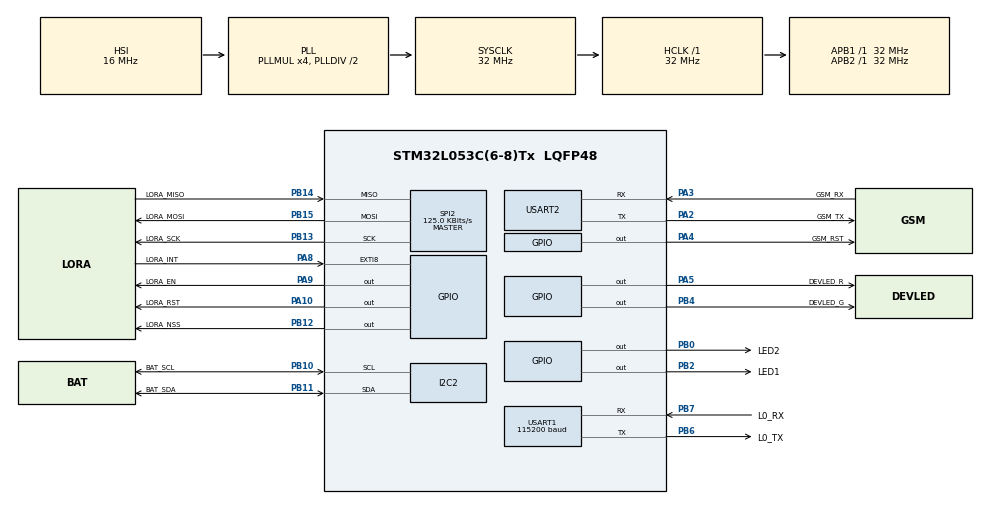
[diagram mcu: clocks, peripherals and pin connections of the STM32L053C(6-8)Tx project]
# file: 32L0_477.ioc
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Dma.Request0=USART2_RX
Dma.Request1=USART1_RX
Dma.USART1_RX.1.Direction=DMA_PERIPH_TO_MEMORY
Dma.USART1_RX.1.Instance=DMA1_Channel3
Dma.USART1_RX.1.MemDataAlignment=DMA_MDATAALIGN_BYTE
Dma.USART1_RX.1.MemInc=DMA_MINC_ENABLE
Dma.USART1_RX.1.Mode=DMA_NORMAL
Dma.USART1_RX.1.PeriphDataAlignment=DMA_PDATAALIGN_BYTE
Dma.USART1_RX.1.PeriphInc=DMA_PINC_DISABLE
Dma.USART1_RX.1.Priority=DMA_PRIORITY_LOW
Dma.USART2_RX.0.Direction=DMA_PERIPH_TO_MEMORY
Dma.USART2_RX.0.Instance=DMA1_Channel5
Dma.USART2_RX.0.MemDataAlignment=DMA_MDATAALIGN_BYTE
Dma.USART2_RX.0.MemInc=DMA_MINC_ENABLE
Dma.USART2_RX.0.Mode=DMA_NORMAL
Dma.USART2_RX.0.PeriphDataAlignment=DMA_PDATAALIGN_BYTE
Dma.USART2_RX.0.PeriphInc=DMA_PINC_DISABLE
Dma.USART2_RX.0.Priority=DMA_PRIORITY_LOW
I2C2.Timing=0x00707CBB
Mcu.Family=STM32L0
Mcu.Name=STM32L053C(6-8)Tx
Mcu.Package=LQFP48
NVIC.DMA1_Channel2_3_IRQn=true\:0\:0\:false\:false\:true\:false\:true
NVIC.DMA1_Channel4_5_6_7_IRQn=true\:0\:0\:false\:false\:true\:false\:true
NVIC.EXTI4_15_IRQn=true\:0\:0\:false\:false\:true\:true\:true
NVIC.TIM2_IRQn=true\:0\:0\:false\:false\:true\:true\:true
PA10.GPIO_Label=LORA_RST
PA10.Signal=GPIO_Output
PA13.GPIO_Label=SWDIO
PA13.Mode=Serial_Wire
PA13.Signal=SYS_SWDIO
PA14.GPIO_Label=SWCLK
PA14.Mode=Serial_Wire
PA14.Signal=SYS_SWCLK
PA2.GPIO_Label=GSM_TX
PA2.Mode=Asynchronous
PA2.Signal=USART2_TX
PA3.GPIO_Label=GSM_RX
PA3.Mode=Asynchronous
PA3.Signal=USART2_RX
PA4.GPIO_Label=GSM_RST
PA4.Signal=GPIO_Output
PA5.GPIO_Label=DEVLED_R
PA5.Signal=GPIO_Output
PA8.GPIO_Label=LORA_INT
PA8.Signal=GPXTI8
PA9.GPIO_Label=LORA_EN
PA9.Signal=GPIO_Output
PB0.GPIO_Label=LED2
PB0.Signal=GPIO_Output
PB10.GPIO_Label=BAT_SCL
PB10.Mode=I2C
PB10.Signal=I2C2_SCL
PB11.GPIO_Label=BAT_SDA
PB11.Mode=I2C
PB11.Signal=I2C2_SDA
PB12.GPIO_Label=LORA_NSS
PB12.Signal=GPIO_Output
PB13.GPIO_Label=LORA_SCK
PB13.Mode=Full_Duplex_Master
PB13.Signal=SPI2_SCK
PB14.GPIO_Label=LORA_MISO
PB14.Mode=Full_Duplex_Master
PB14.Signal=SPI2_MISO
PB15.GPIO_Label=LORA_MOSI
PB15.Mode=Full_Duplex_Master
PB15.Signal=SPI2_MOSI
PB2.GPIO_Label=LED1
PB2.Signal=GPIO_Output
PB4.GPIO_Label=DEVLED_G
PB4.Signal=GPIO_Output
PB6.GPIO_Label=L0_TX
PB6.Mode=Asynchronous
PB6.Signal=USART1_TX
PB7.GPIO_Label=L0_RX
PB7.Mode=Asynchronous
PB7.Signal=USART1_RX
ProjectManager.HeapSize=0x200
ProjectManager.StackSize=0x400
ProjectManager.TargetToolchain=SW4STM32
RCC.ADCFreq_Value=16000000
RCC.AHBFreq_Value=32000000
RCC.APB1Freq_Value=32000000
RCC.APB1TimFreq_Value=32000000
RCC.APB2Freq_Value=32000000
RCC.APB2TimFreq_Value=32000000
RCC.HCLKFreq_Value=32000000
RCC.HSE_VALUE=8000000
RCC.HSI16_VALUE=16000000
RCC.HSI48MClockSelection=RCC_USBCLKSOURCE_HSI48
RCC.HSI48_VALUE=48000000
RCC.HSI_VALUE=16000000
RCC.LSE_VALUE=32768
RCC.LptimClockSelection=RCC_LPTIM1CLKSOURCE_LSI
RCC.MSI_VALUE=2097000
RCC.PLLMUL=RCC_PLLMUL_4
RCC.RTCClockSelectionVirtual=RCC_RTCCLKSOURCE_LSE
RCC.SYSCLKFreq_VALUE=32000000
RCC.SYSCLKSource=RCC_SYSCLKSOURCE_PLLCLK
RCC.VCOOutputFreq_Value=64000000
SPI2.BaudRatePrescaler=SPI_BAUDRATEPRESCALER_256
SPI2.CalculateBaudRate=125.0 KBits/s
SPI2.Direction=SPI_DIRECTION_2LINES
SPI2.FirstBit=SPI_FIRSTBIT_MSB
SPI2.Mode=SPI_MODE_MASTER
SPI2.VirtualType=VM_MASTER
TIM2.AutoReloadPreload=TIM_AUTORELOAD_PRELOAD_ENABLE
TIM2.ClockDivision=TIM_CLOCKDIVISION_DIV1
TIM2.Period=5000
TIM2.Prescaler=32000
TIM2.TIM_MasterOutputTrigger=TIM_TRGO_OC1REF
USART1.BaudRate=115200
USART1.MSBFirstParam=ADVFEATURE_MSBFIRST_DISABLE
USART1.VirtualMode-Asynchronous=VM_ASYNC
USART2.VirtualMode-Asynchronous=VM_ASYNC
VP_TIM2_VS_ClockSourceINT.Mode=Internal
VP_TIM6_VS_ClockSourceINT.Mode=Enable_Timer
board=STM32L0538-DISCO

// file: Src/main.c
/* USER CODE BEGIN Header */
/**
  ******************************************************************************
  * @file           : main.c
  * @brief          : Main program body
  ******************************************************************************
  * @attention
  *
  * <h2><center>&copy; Copyright (c) 2019 STMicroelectronics.
  * All rights reserved.</center></h2>
  *
  * This software component is licensed by ST under BSD 3-Clause license,
  * the "License"; You may not use this file except in compliance with the
  * License. You may obtain a copy of the License at:
  *                        opensource.org/licenses/BSD-3-Clause
  *
  ******************************************************************************
  */
/* USER CODE END Header */

#include "main.h"

/* USER CODE BEGIN Includes */
#include "mesh.h"
#include "G350.h"
#include "fuel_gauge.h"
/* USER CODE END Includes */

I2C_HandleTypeDef hi2c2;

SPI_HandleTypeDef hspi2;

TIM_HandleTypeDef htim2;
TIM_HandleTypeDef htim6;

UART_HandleTypeDef huart1;
UART_HandleTypeDef huart2;
DMA_HandleTypeDef hdma_usart1_rx;
DMA_HandleTypeDef hdma_usart2_rx;

/* USER CODE BEGIN PV */
int first = 0;
bool TIMEOUT_interrupt = false;
bool LORA_interrupt = false;
uint8_t fireBuffer_A[256] = "\0";
uint8_t fireBuffer = '\0';
bool emergency = 0;
/* USER CODE END PV */

void SystemClock_Config(void);
static void MX_GPIO_Init(void);
static void MX_DMA_Init(void);
static void MX_SPI2_Init(void);
static void MX_USART1_UART_Init(void);
static void MX_I2C2_Init(void);
static void MX_TIM2_Init(void);
static void MX_TIM6_Init(void);
static void MX_USART2_UART_Init(void);

/* USER CODE BEGIN 0 */
void set_tim2(int sec) //Note: Once the timer is set, you have to wait till it finishes before starting it again
{
	htim2.Init.Period = sec*1000;
	HAL_TIM_Base_Init(&htim2);
	first = 0;
	HAL_TIM_Base_Start_IT(&htim2);
}

void stop_tim2()
{
	HAL_TIM_Base_Stop_IT(&htim2);
}

void HAL_TIM_PeriodElapsedCallback(TIM_HandleTypeDef *htim)
{
	if(htim == &htim2)
	{
		if(first == 0) {first = 1; return;}
		HAL_GPIO_TogglePin(GPIOB,GPIO_PIN_4);
		HAL_GPIO_TogglePin(LED1_GPIO_Port,LED1_Pin);
		TIMEOUT_interrupt = true;

		HAL_TIM_Base_Stop_IT(htim);
	}
}

void HAL_GPIO_EXTI_Callback(uint16_t GPIO_Pin)
{
	if(GPIO_Pin == GPIO_PIN_8) //For GPIOA_8 (Lora Interrupt)
	{
		HAL_GPIO_TogglePin(GPIOA,GPIO_PIN_5);
		HAL_GPIO_TogglePin(LED2_GPIO_Port,LED2_Pin);
		LORA_interrupt = true;
	}
}

void UART_send(uint8_t* data)
{
	HAL_UART_Transmit(&(huart1),data,strlen(data),30);
	HAL_UART_Transmit(&(huart1),"\x0D\x0A",2,30);
	HAL_Delay(100);
}

void Update_Fire()
{

	if (strlen(fireBuffer_A) != 0)
	{

		fireBuffer = fireBuffer_A[strlen(fireBuffer_A)- 1];

		uint8_t dma[16];
		sprintf(dma,"Message Read: %c", fireBuffer);
		UART_send(dma);

		if (fireBuffer == 'F' || fireBuffer == 'f')
		{
			self_fire = 1;
			emergency = 1;
		}
		else if (fireBuffer == 'N' || fireBuffer == 'n')
		{
			self_fire = 0;
		}
		else if (fireBuffer == 'E' || fireBuffer == 'e')
		{
			self_fire = 2;
		}
	}
	HAL_UART_DMAStop(&huart1);

	memset(fireBuffer_A,0,256);
	fireBuffer = '\0';

	if (HAL_UART_Receive_DMA(&huart1, fireBuffer_A, 256) != HAL_OK)
	{
		UART_send("DMA failed");
	}
}
/* USER CODE END 0 */

int main(void)
{

  /* MCU Configuration--------------------------------------------------------*/

  /* Reset of all peripherals, Initializes the Flash interface and the Systick. */
  HAL_Init();

  /* Configure the system clock */
  SystemClock_Config();

  /* Initialize all configured peripherals */
  MX_GPIO_Init();
  MX_DMA_Init();
  MX_SPI2_Init();
  MX_USART1_UART_Init();
  MX_I2C2_Init();
  MX_TIM2_Init();
  MX_TIM6_Init();
  MX_USART2_UART_Init();
  /* USER CODE BEGIN 2 */

  //Info:
  // GPIOB Pin12 is the chip select
  // GPIOA Pin10  is the RST (pull high for it to work)
  // GPIOA Pin9   is the EN (pulled high for it to work)
  HAL_GPIO_WritePin(GPIOB,GPIO_PIN_12,GPIO_PIN_SET);
  HAL_GPIO_WritePin(LORA_EN_GPIO_Port,LORA_EN_Pin,GPIO_PIN_SET);
  HAL_GPIO_WritePin(LORA_RST_GPIO_Port,LORA_RST_Pin,GPIO_PIN_SET);

  uint8_t rx_buff;
  uint8_t rx_buff2;
  if (!RF95_init(hspi2, GPIOB))
  {
	  HAL_GPIO_WritePin(GPIOA,GPIO_PIN_5,GPIO_PIN_SET);
	  HAL_GPIO_WritePin(LED2_GPIO_Port,LED2_Pin,GPIO_PIN_SET);
  }

  //Init for GPIOB interrupt pin (LORA_INT)
  HAL_NVIC_EnableIRQ(EXTI4_15_IRQn);
//  if (req_ID(hspi2,GPIOB,1,4) == 0)
//  {
//
//	 //fail to get ID, become the ID
//	  HAL_GPIO_WritePin(GPIOB,GPIO_PIN_4,GPIO_PIN_SET);
//	  HAL_GPIO_WritePin(LED1_GPIO_Port,LED1_Pin,GPIO_PIN_SET);
//	  send(hspi2,GPIOB,"Timeout Successful");
//  }
  UART_send("New");

  //Init variable
  self_ID = SELF_ID;
  self_battery = 0;
  self_fire = 0;
  uint8_t data[256];

  //Init
  HAL_Delay(500);
  #if IS_PCB == 1
    FG_I2C_Setup(&hi2c2);
  #endif
  Init_timeout();
  Init_RT();
  Print_RT();
  uint8_t GSM = GSM_Init(&huart2);

  //Set timer
  set_tim2(UPDATE_PERIOD);
  setModeRx(hspi2,GPIOB);

  //Set interrupt and counter
  LORA_interrupt = false;
  TIMEOUT_interrupt = false;
  uint8_t update_server = 3; // a counter that counts down to 0 then update the GSM server.

  // FIRE DMA first Init
  if (HAL_UART_Receive_DMA(&huart1, fireBuffer_A, 256) != HAL_OK)
  {
	  UART_send("DMA failed");
  }

  while(1)
  {
	  //wait for interrupt
	  do{asm("wfi");}while(LORA_interrupt == false && TIMEOUT_interrupt == false);
	  if(spiRead(hspi2,GPIOB,0x12) & 0x80 == 0x80) //rx_timeout
		{
		  //tell UART about the timeout
		  UART_send("RX_Timeout\x0D\x0A");
		  HAL_NVIC_SystemReset();
		}

	  if(LORA_interrupt == true){ //received a Lora Packet

		UART_send("Lora Interrupt Detected");
		//reset the interrupt
		LORA_interrupt = false;

		//wait to receive the whole packet (Read the status register until RX_Done is true)
		uint32_t timer = HAL_GetTick();
		while(spiRead(hspi2,GPIOB,0x12) != 80 && ( (HAL_GetTick()-timer) < 1000) ); //Timeout in 1 sec
		if( (HAL_GetTick - timer) < 1000) {LORA_interrupt = false; setModeRx(hspi2,GPIOB); continue;}

		spiReadbuff(hspi2,GPIOB,data);
		if(data[TYPE] == UPDATE_PACKET) //received an Update_Packet
		{
			Convert_Pkt_to_Table(data);
			Update_timeout(sender_ID);
			Update_Packet();
			Print_RT();
			print_timeout();
		}

		setModeRx(hspi2,GPIOB);
	  }
	  else if(TIMEOUT_interrupt == true)
	  {
		  TIMEOUT_interrupt = false;
		  Check_timeout(); //Check if there is any timeout

		  //Read battery and GSM and Fire and update the data of self
		  #if IS_PCB == 1
		  	  self_battery = FG_I2C_Read_SOC(&hi2c2);
		  #endif
		  if(GSM == 1) {self_signal = GSM_Check_Signal(&huart2);}
		  Update_Fire();
		  Update_Self();

		  //Send Packet
		  Convert_Table_to_Pkt(data);
		  send(hspi2, GPIOB, data);

		  //Reset stuff for interrupt
		  setModeRx(hspi2,GPIOB);
		  set_tim2(UPDATE_PERIOD);

		  UART_send("Updated Neighbors");
		  Print_RT();

		  //Update GSM
		  update_server--;
		  if(update_server == 0 || emergency == 1) { //update server
			  if(GSM == 1 && self_signal >= 3)
			  {
				  uint8_t SMS_sent = text_update(&huart2,TWILIO_PHONE_NUMBER);
				  if(SMS_sent == 1){UART_send("Updated Server");}
				  else {UART_send("Fail to Update Server");}
			  }
			  update_server = 3;
			  emergency = 0;
		  }
	  }
  }
  /* USER CODE END 2 */

  /* Infinite loop */
  while (1)
  {

    /* USER CODE BEGIN 3 */

	  /*uint8_t msg[]="AT\x0D";
	  uint8_t aRxBuffer[20];
	  HAL_StatusTypeDef stat;
	  stat = HAL_UART_Receive_IT(&huart1, (uint8_t *)aRxBuffer, 20);
	  stat = HAL_UART_Transmit(&(huart1),(uint8_t *)msg,sizeof(msg),30);

	  //stat = HAL_UART_Receive(&huart1, (uint8_t *)aRxBuffer, 10, 1000);
	  HAL_Delay(2000);
	  if(stat == HAL_OK) {
		  HAL_GPIO_WritePin(GPIOB,GPIO_PIN_4,GPIO_PIN_SET);
	  } else {
		  HAL_GPIO_WritePin(GPIOA,GPIO_PIN_5,GPIO_PIN_RESET);
	  }*/
  }
  /* USER CODE END 3 */
}

void SystemClock_Config(void)
{
  RCC_OscInitTypeDef RCC_OscInitStruct = {0};
  RCC_ClkInitTypeDef RCC_ClkInitStruct = {0};
  RCC_PeriphCLKInitTypeDef PeriphClkInit = {0};

  /** Configure the main internal regulator output voltage
  */
  __HAL_PWR_VOLTAGESCALING_CONFIG(PWR_REGULATOR_VOLTAGE_SCALE1);
  /** Initializes the CPU, AHB and APB busses clocks
  */
  RCC_OscInitStruct.OscillatorType = RCC_OSCILLATORTYPE_HSI;
  RCC_OscInitStruct.HSIState = RCC_HSI_ON;
  RCC_OscInitStruct.HSICalibrationValue = RCC_HSICALIBRATION_DEFAULT;
  RCC_OscInitStruct.PLL.PLLState = RCC_PLL_ON;
  RCC_OscInitStruct.PLL.PLLSource = RCC_PLLSOURCE_HSI;
  RCC_OscInitStruct.PLL.PLLMUL = RCC_PLLMUL_4;
  RCC_OscInitStruct.PLL.PLLDIV = RCC_PLLDIV_2;
  if (HAL_RCC_OscConfig(&RCC_OscInitStruct) != HAL_OK)
  {
    Error_Handler();
  }
  /** Initializes the CPU, AHB and APB busses clocks
  */
  RCC_ClkInitStruct.ClockType = RCC_CLOCKTYPE_HCLK|RCC_CLOCKTYPE_SYSCLK
                              |RCC_CLOCKTYPE_PCLK1|RCC_CLOCKTYPE_PCLK2;
  RCC_ClkInitStruct.SYSCLKSource = RCC_SYSCLKSOURCE_PLLCLK;
  RCC_ClkInitStruct.AHBCLKDivider = RCC_SYSCLK_DIV1;
  RCC_ClkInitStruct.APB1CLKDivider = RCC_HCLK_DIV1;
  RCC_ClkInitStruct.APB2CLKDivider = RCC_HCLK_DIV1;

  if (HAL_RCC_ClockConfig(&RCC_ClkInitStruct, FLASH_LATENCY_1) != HAL_OK)
  {
    Error_Handler();
  }
  PeriphClkInit.PeriphClockSelection = RCC_PERIPHCLK_USART1|RCC_PERIPHCLK_USART2;
  PeriphClkInit.Usart1ClockSelection = RCC_USART1CLKSOURCE_PCLK2;
  PeriphClkInit.Usart2ClockSelection = RCC_USART2CLKSOURCE_PCLK1;
  if (HAL_RCCEx_PeriphCLKConfig(&PeriphClkInit) != HAL_OK)
  {
    Error_Handler();
  }
}

static void MX_I2C2_Init(void)
{

  hi2c2.Instance = I2C2;
  hi2c2.Init.Timing = 0x00707CBB;
  hi2c2.Init.OwnAddress1 = 0;
  hi2c2.Init.AddressingMode = I2C_ADDRESSINGMODE_7BIT;
  hi2c2.Init.DualAddressMode = I2C_DUALADDRESS_DISABLE;
  hi2c2.Init.OwnAddress2 = 0;
  hi2c2.Init.OwnAddress2Masks = I2C_OA2_NOMASK;
  hi2c2.Init.GeneralCallMode = I2C_GENERALCALL_DISABLE;
  hi2c2.Init.NoStretchMode = I2C_NOSTRETCH_DISABLE;
  if (HAL_I2C_Init(&hi2c2) != HAL_OK)
  {
    Error_Handler();
  }
  /** Configure Analogue filter
  */
  if (HAL_I2CEx_ConfigAnalogFilter(&hi2c2, I2C_ANALOGFILTER_ENABLE) != HAL_OK)
  {
    Error_Handler();
  }
  /** Configure Digital filter
  */
  if (HAL_I2CEx_ConfigDigitalFilter(&hi2c2, 0) != HAL_OK)
  {
    Error_Handler();
  }

}

static void MX_SPI2_Init(void)
{

  /* SPI2 parameter configuration*/
  hspi2.Instance = SPI2;
  hspi2.Init.Mode = SPI_MODE_MASTER;
  hspi2.Init.Direction = SPI_DIRECTION_2LINES;
  hspi2.Init.DataSize = SPI_DATASIZE_8BIT;
  hspi2.Init.CLKPolarity = SPI_POLARITY_LOW;
  hspi2.Init.CLKPhase = SPI_PHASE_1EDGE;
  hspi2.Init.NSS = SPI_NSS_SOFT;
  hspi2.Init.BaudRatePrescaler = SPI_BAUDRATEPRESCALER_256;
  hspi2.Init.FirstBit = SPI_FIRSTBIT_MSB;
  hspi2.Init.TIMode = SPI_TIMODE_DISABLE;
  hspi2.Init.CRCCalculation = SPI_CRCCALCULATION_DISABLE;
  hspi2.Init.CRCPolynomial = 7;
  if (HAL_SPI_Init(&hspi2) != HAL_OK)
  {
    Error_Handler();
  }

}

static void MX_TIM2_Init(void)
{

  TIM_ClockConfigTypeDef sClockSourceConfig = {0};
  TIM_MasterConfigTypeDef sMasterConfig = {0};

  htim2.Instance = TIM2;
  htim2.Init.Prescaler = 32000;
  htim2.Init.CounterMode = TIM_COUNTERMODE_UP;
  htim2.Init.Period = 5000;
  htim2.Init.ClockDivision = TIM_CLOCKDIVISION_DIV1;
  htim2.Init.AutoReloadPreload = TIM_AUTORELOAD_PRELOAD_ENABLE;
  if (HAL_TIM_Base_Init(&htim2) != HAL_OK)
  {
    Error_Handler();
  }
  sClockSourceConfig.ClockSource = TIM_CLOCKSOURCE_INTERNAL;
  if (HAL_TIM_ConfigClockSource(&htim2, &sClockSourceConfig) != HAL_OK)
  {
    Error_Handler();
  }
  sMasterConfig.MasterOutputTrigger = TIM_TRGO_OC1REF;
  sMasterConfig.MasterSlaveMode = TIM_MASTERSLAVEMODE_DISABLE;
  if (HAL_TIMEx_MasterConfigSynchronization(&htim2, &sMasterConfig) != HAL_OK)
  {
    Error_Handler();
  }

}

static void MX_TIM6_Init(void)
{

  TIM_MasterConfigTypeDef sMasterConfig = {0};

  htim6.Instance = TIM6;
  htim6.Init.Prescaler = 0;
  htim6.Init.CounterMode = TIM_COUNTERMODE_UP;
  htim6.Init.Period = 0;
  htim6.Init.AutoReloadPreload = TIM_AUTORELOAD_PRELOAD_DISABLE;
  if (HAL_TIM_Base_Init(&htim6) != HAL_OK)
  {
    Error_Handler();
  }
  sMasterConfig.MasterOutputTrigger = TIM_TRGO_RESET;
  sMasterConfig.MasterSlaveMode = TIM_MASTERSLAVEMODE_DISABLE;
  if (HAL_TIMEx_MasterConfigSynchronization(&htim6, &sMasterConfig) != HAL_OK)
  {
    Error_Handler();
  }

}

static void MX_USART1_UART_Init(void)
{

  huart1.Instance = USART1;
  huart1.Init.BaudRate = 115200;
  huart1.Init.WordLength = UART_WORDLENGTH_8B;
  huart1.Init.StopBits = UART_STOPBITS_1;
  huart1.Init.Parity = UART_PARITY_NONE;
  huart1.Init.Mode = UART_MODE_TX_RX;
  huart1.Init.HwFlowCtl = UART_HWCONTROL_NONE;
  huart1.Init.OverSampling = UART_OVERSAMPLING_16;
  huart1.Init.OneBitSampling = UART_ONE_BIT_SAMPLE_DISABLE;
  huart1.AdvancedInit.AdvFeatureInit = UART_ADVFEATURE_NO_INIT;
  if (HAL_UART_Init(&huart1) != HAL_OK)
  {
    Error_Handler();
  }

}

static void MX_USART2_UART_Init(void)
{

  huart2.Instance = USART2;
  huart2.Init.BaudRate = 115200;
  huart2.Init.WordLength = UART_WORDLENGTH_8B;
  huart2.Init.StopBits = UART_STOPBITS_1;
  huart2.Init.Parity = UART_PARITY_NONE;
  huart2.Init.Mode = UART_MODE_TX_RX;
  huart2.Init.HwFlowCtl = UART_HWCONTROL_NONE;
  huart2.Init.OverSampling = UART_OVERSAMPLING_16;
  huart2.Init.OneBitSampling = UART_ONE_BIT_SAMPLE_DISABLE;
  huart2.AdvancedInit.AdvFeatureInit = UART_ADVFEATURE_NO_INIT;
  if (HAL_UART_Init(&huart2) != HAL_OK)
  {
    Error_Handler();
  }

}

static void MX_DMA_Init(void)
{

  /* DMA controller clock enable */
  __HAL_RCC_DMA1_CLK_ENABLE();

  /* DMA interrupt init */
  /* DMA1_Channel2_3_IRQn interrupt configuration */
  HAL_NVIC_SetPriority(DMA1_Channel2_3_IRQn, 0, 0);
  HAL_NVIC_EnableIRQ(DMA1_Channel2_3_IRQn);
  /* DMA1_Channel4_5_6_7_IRQn interrupt configuration */
  HAL_NVIC_SetPriority(DMA1_Channel4_5_6_7_IRQn, 0, 0);
  HAL_NVIC_EnableIRQ(DMA1_Channel4_5_6_7_IRQn);

}

static void MX_GPIO_Init(void)
{
  GPIO_InitTypeDef GPIO_InitStruct = {0};

  /* GPIO Ports Clock Enable */
  __HAL_RCC_GPIOA_CLK_ENABLE();
  __HAL_RCC_GPIOB_CLK_ENABLE();

  /*Configure GPIO pin Output Level */
  HAL_GPIO_WritePin(GPIOA, GSM_RST_Pin|DEVLED_R_Pin|LORA_EN_Pin|LORA_RST_Pin, GPIO_PIN_RESET);

  /*Configure GPIO pin Output Level */
  HAL_GPIO_WritePin(GPIOB, LED2_Pin|LED1_Pin|LORA_NSS_Pin|DEVLED_G_Pin, GPIO_PIN_RESET);

  /*Configure GPIO pins : GSM_RST_Pin DEVLED_R_Pin LORA_EN_Pin LORA_RST_Pin */
  GPIO_InitStruct.Pin = GSM_RST_Pin|DEVLED_R_Pin|LORA_EN_Pin|LORA_RST_Pin;
  GPIO_InitStruct.Mode = GPIO_MODE_OUTPUT_PP;
  GPIO_InitStruct.Pull = GPIO_NOPULL;
  GPIO_InitStruct.Speed = GPIO_SPEED_FREQ_LOW;
  HAL_GPIO_Init(GPIOA, &GPIO_InitStruct);

  /*Configure GPIO pins : LED2_Pin LED1_Pin LORA_NSS_Pin DEVLED_G_Pin */
  GPIO_InitStruct.Pin = LED2_Pin|LED1_Pin|LORA_NSS_Pin|DEVLED_G_Pin;
  GPIO_InitStruct.Mode = GPIO_MODE_OUTPUT_PP;
  GPIO_InitStruct.Pull = GPIO_NOPULL;
  GPIO_InitStruct.Speed = GPIO_SPEED_FREQ_LOW;
  HAL_GPIO_Init(GPIOB, &GPIO_InitStruct);

  /*Configure GPIO pin : LORA_INT_Pin */
  GPIO_InitStruct.Pin = LORA_INT_Pin;
  GPIO_InitStruct.Mode = GPIO_MODE_IT_RISING;
  GPIO_InitStruct.Pull = GPIO_NOPULL;
  HAL_GPIO_Init(LORA_INT_GPIO_Port, &GPIO_InitStruct);

  /* EXTI interrupt init*/
  HAL_NVIC_SetPriority(EXTI4_15_IRQn, 0, 0);
  HAL_NVIC_EnableIRQ(EXTI4_15_IRQn);

}

void Error_Handler(void)
{
}

/************************ (C) COPYRIGHT STMicroelectronics *****END OF FILE****/
